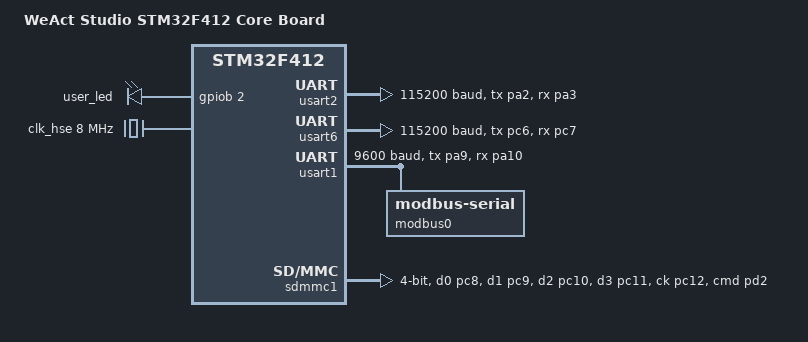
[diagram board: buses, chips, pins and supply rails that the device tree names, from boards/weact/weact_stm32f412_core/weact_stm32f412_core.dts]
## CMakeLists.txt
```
# SPDX-License-Identifier: Apache-2.0

cmake_minimum_required(VERSION 3.20.0)

list(APPEND BOARD_ROOT ${CMAKE_CURRENT_SOURCE_DIR})

find_package(Zephyr REQUIRED HINTS $ENV{ZEPHYR_BASE})
project(rsc-app)

add_subdirectory(lib/storage)
add_subdirectory(lib/core)
add_subdirectory(lib/communication)
add_subdirectory(lib/component)
add_subdirectory(lib/data)

target_sources(app PRIVATE src/main.c)
```

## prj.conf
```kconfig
CONFIG_GPIO=y
CONFIG_SIZE_OPTIMIZATIONS=y

CONFIG_SERIAL=y
CONFIG_CONSOLE=y
CONFIG_UART_CONSOLE=y
CONFIG_UART_INTERRUPT_DRIVEN=y
CONFIG_PRINTK=y
CONFIG_LOG=y
CONFIG_LOG_MODE_MINIMAL=y
CONFIG_SDMMC_LOG_LEVEL_DBG=y
CONFIG_BOOT_BANNER=n
CONFIG_ASSERT=n
CONFIG_THREAD_NAME=n

CONFIG_MAIN_STACK_SIZE=8192
CONFIG_SYSTEM_WORKQUEUE_STACK_SIZE=512

CONFIG_PINCTRL=y

# SD card / filesystem
CONFIG_DISK_ACCESS=y
CONFIG_DISK_DRIVERS=y
CONFIG_DISK_DRIVER_SDMMC=y
CONFIG_SDMMC_STM32=y

CONFIG_FILE_SYSTEM=y
CONFIG_FAT_FILESYSTEM_ELM=y
CONFIG_FS_FATFS_LFN=y
CONFIG_FS_FATFS_LFN_MODE_STACK=y

# DMA + async UART for ESP32
CONFIG_DMA=y
CONFIG_UART_ASYNC_API=y

# JSON parser
CONFIG_JSON_LIBRARY=y

# Modbus RTU
CONFIG_MODBUS=y
CONFIG_MODBUS_ROLE_CLIENT=y
CONFIG_MODBUS_NONCOMPLIANT_SERIAL_MODE=y
CONFIG_MODBUS_LOG_LEVEL_WRN=y
```

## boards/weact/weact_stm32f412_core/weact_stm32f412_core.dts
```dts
/* SPDX-License-Identifier: Apache-2.0 */

/dts-v1/;
#include <st/f4/stm32f412Xe.dtsi>
#include <st/f4/stm32f412r(e-g)tx-pinctrl.dtsi>
#include <zephyr/dt-bindings/clock/stm32f410_clock.h>

/ {
	model = "WeAct Studio STM32F412 Core Board";
	compatible = "weact,stm32f412-core", "st,stm32f412";

	chosen {
		zephyr,sram = &sram0;
		zephyr,flash = &flash0;
		zephyr,console = &usart2;
		zephyr,shell-uart = &usart2; 	 			                                          
	};

	leds {
		compatible = "gpio-leds";

		user_led: led {
			gpios = <&gpiob 2 GPIO_ACTIVE_HIGH>;
		};
	};

	aliases {
		led0 = &user_led;
	};
};

&clk_hse {
	clock-frequency = <DT_FREQ_M(8)>;
	status = "okay";
};

&pll {
	div-m = <8>;
	mul-n = <192>;
	div-p = <2>;
	div-q = <4>;
	clocks = <&clk_hse>;
	status = "okay";
};

&rcc {
	clocks = <&pll>;
	clock-frequency = <DT_FREQ_M(96)>;
	ahb-prescaler = <1>;
	apb1-prescaler = <2>;
	apb2-prescaler = <1>;
};

&usart2 {
	pinctrl-0 = <&usart2_tx_pa2 &usart2_rx_pa3>;
	pinctrl-names = "default";
	current-speed = <115200>;
	status = "okay";
};

&dma2 {
	status = "okay";
};

&usart6 {
	pinctrl-0 = <&usart6_tx_pc6 &usart6_rx_pc7>;
	pinctrl-names = "default";
	current-speed = <115200>;
	dmas = <&dma2 6 5 STM32_DMA_PERIPH_TX 0>,
	       <&dma2 1 5 STM32_DMA_PERIPH_RX 0>;
	dma-names = "tx", "rx";
	status = "okay";
};

&usart1 {
	pinctrl-0 = <&usart1_tx_pa9 &usart1_rx_pa10>;
	pinctrl-names = "default";
	current-speed = <9600>;
	status = "okay";

	modbus0: modbus0 {
		compatible = "zephyr,modbus-serial";
		status = "okay";
	};
};

&sdmmc1 {
	pinctrl-0 = <&sdio_d0_pc8 &sdio_d1_pc9 &sdio_d2_pc10 &sdio_d3_pc11
		     &sdio_ck_pc12 &sdio_cmd_pd2>;
	pinctrl-names = "default";
	clocks = <&rcc STM32_CLOCK(APB2, 11)>,
		 <&rcc STM32_SRC_PLL_Q SDIO_SEL(0)>;
	disk-name = "SD";
	bus-width = <4>;
	clk-div = <4>;
	status = "okay";
};
```

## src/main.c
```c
/* SPDX-License-Identifier: Apache-2.0 */

#include <stdio.h>
#include <string.h>
#include <core.h>
#include <data.h>
#include <esp32.h>
#include <sensor_manager.h>
#include <storage.h>
#include <zephyr/drivers/gpio.h>
#include <zephyr/drivers/uart.h>
#include <zephyr/kernel.h>

#define APP_VERSION "1.0.0"

#define COMMAND_MAX_LEN          32
#define COMMAND_QUEUE_DEPTH      8
#define SENSOR_POLL_INTERVAL_MS  60000
#define NETWORK_RETRY_INTERVAL   K_SECONDS(10)
#define NETWORK_WAKE_LEAD_MS     30000
#define COMMAND_THREAD_STACK     2048
#define SENSOR_THREAD_STACK      2048
#define COMM_THREAD_STACK        6144

struct command_message {
	char text[COMMAND_MAX_LEN];
};

static const struct gpio_dt_spec led = GPIO_DT_SPEC_GET(DT_ALIAS(led0), gpios);
static const struct device *uart_dev = DEVICE_DT_GET(DT_NODELABEL(usart2));

K_MSGQ_DEFINE(command_queue, sizeof(struct command_message),
	      COMMAND_QUEUE_DEPTH, 4);
K_SEM_DEFINE(send_request, 0, 1);

K_THREAD_STACK_DEFINE(command_stack, COMMAND_THREAD_STACK);
K_THREAD_STACK_DEFINE(sensor_stack, SENSOR_THREAD_STACK);
K_THREAD_STACK_DEFINE(comm_stack, COMM_THREAD_STACK);

static struct k_thread command_thread_data;
static struct k_thread sensor_thread_data;
static struct k_thread comm_thread_data;

static uint8_t rx_buf[COMMAND_MAX_LEN];
static uint8_t rx_pos;

static uint32_t s_epoch_base;
static int64_t s_epoch_tick;

static int64_t get_timestamp_ms(void)
{
	if (s_epoch_base == 0) {
		return 0;
	}
	return (int64_t)s_epoch_base * MSEC_PER_SEC +
	       (k_uptime_get() - s_epoch_tick);
}

static uint32_t get_timestamp(void)
{
	return (uint32_t)(get_timestamp_ms() / MSEC_PER_SEC);
}

static int sync_network_time(const struct config *cfg)
{
	uint16_t year;
	uint8_t month, day, hour, minute, second;

	if (esp32_ntp_config(cfg->ntp_timezone, NULL) != ESP32_OK) {
		printk("[WARN] NTP config failed\r");
		return -1;
	}

	for (uint8_t retry = 0; retry < 3; retry++) {
		k_sleep(K_SECONDS(2));
		if (esp32_ntp_get_time(&year, &month, &day, &hour, &minute,
				       &second) == ESP32_OK) {
			/* ESP32 returns local time according to CIPSNTPCFG timezone.
			 * Convert it back to UTC before publishing a Unix timestamp.
			 */
			int64_t local_epoch = datetime_to_epoch(year, month, day, hour,
							 minute, second);
			int64_t utc_epoch = local_epoch -
					    ((int64_t)cfg->ntp_timezone * 3600LL);

			if (utc_epoch <= 0 || utc_epoch > UINT32_MAX) {
				printk("[WARN] Invalid NTP epoch\r");
				return -1;
			}

			s_epoch_base = (uint32_t)utc_epoch;
			s_epoch_tick = k_uptime_get();
			printk("[NTP] %04u-%02u-%02u %02u:%02u:%02u\r",
			       year, month, day, hour, minute, second);
			return 0;
		}
		printk("[WARN] NTP sync retry %u/3\r", (unsigned)(retry + 1));
	}

	return -1;
}

static void publish_signal(uint32_t timestamp)
{
	static char payload[ESP32_MQTT_PAYLOAD_MAX];
	const struct config *cfg = config_get();
	const esp32_status_t *status = esp32_get_status();
	data_signal_meta_t meta = {
		.device_id = cfg->devid,
		.firmware_version = APP_VERSION,
		.timestamp = timestamp,
		.rssi = status->rssi,
	};

	int err = data_build_signal_payload(payload, sizeof(payload), &meta);
	if (err != 0) {
		printk("[DATA] payload build failed: %d\r", err);
		return;
	}

	esp32_result_t result = esp32_send_signal(payload);
	if (result == ESP32_OK) {
		printk("[MQTT] %s\r", payload);
	} else {
		printk("[MQTT] publish failed, rc=%d\r", (int)result);
	}
}

static void process_command(const char *command)
{
	if (strcmp(command, "on") == 0) {
		gpio_pin_set_dt(&led, 1);
		printk("LED ON\r");
	} else if (strcmp(command, "off") == 0) {
		gpio_pin_set_dt(&led, 0);
		printk("LED OFF\r");
	} else if (strcmp(command, "config") == 0) {
		config_print();
	} else if (strcmp(command, "status") == 0) {
		const esp32_status_t *status = esp32_get_status();
		printk("[INFO] WiFi  : %s\r",
		       status->wifi_state == ESP32_WIFI_GOT_IP ?
		       "connected" : "disconnected");
		printk("[INFO] IP    : %s\r",
		       status->ip_addr[0] ? status->ip_addr : "-");
		printk("[INFO] RSSI  : %d\r", (int)status->rssi);
		printk("[INFO] MQTT  : %s\r",
		       status->mqtt_connected ? "connected" : "disconnected");
	} else if (strcmp(command, "send") == 0) {
		k_sem_give(&send_request);
		printk("[INFO] send requested\r");
	} else if (strcmp(command, "weather") == 0) {
		weather_data_t weather;
		if (sensor_manager_get_weather(&weather) == 0) {
			sensor_manager_print_weather(&weather);
		} else {
			printk("[W87X] data not ready\r");
		}
	} else {
		printk("Unknown: %s\r", command);
	}
}

static void command_thread(void *arg1, void *arg2, void *arg3)
{
	struct command_message message;

	ARG_UNUSED(arg1);
	ARG_UNUSED(arg2);
	ARG_UNUSED(arg3);

	while (1) {
		k_msgq_get(&command_queue, &message, K_FOREVER);
		process_command(message.text);
	}
}

static void sensor_thread(void *arg1, void *arg2, void *arg3)
{
	int64_t next_sample = k_uptime_get();

	ARG_UNUSED(arg1);
	ARG_UNUSED(arg2);
	ARG_UNUSED(arg3);

	while (1) {
		int err = sensor_manager_sample();
		if (err != 0) {
			printk("[SENSOR] read failed: %d\r", err);
		} else {
			weather_data_t weather;
			if (sensor_manager_get_weather(&weather) == 0) {
				uint32_t timestamp = get_timestamp();
				if (timestamp != 0) {
					err = data_wind_accumulate(weather.wind_dir,
								   timestamp);
					if (err != 0) {
						printk("[DATA] wind.json write failed: %d\r",
						       err);
					}
				}
			}
		}

		next_sample += SENSOR_POLL_INTERVAL_MS;
		int64_t sleep_ms = next_sample - k_uptime_get();
		if (sleep_ms > 0) {
			k_sleep(K_MSEC(sleep_ms));
		} else {
			next_sample = k_uptime_get();
		}
	}
}

static int communication_prepare(const struct config *cfg)
{
	if (esp32_get_status()->wifi_state != ESP32_WIFI_GOT_IP) {
		printk("[INFO] WiFi connecting...\r");
		if (esp32_wifi_connect(cfg->wifi_ssid, cfg->wifi_pass) != ESP32_OK) {
			return -1;
		}
	}

	if (sync_network_time(cfg) != 0 && s_epoch_base == 0) {
		return -1;
	}

	if (!esp32_get_status()->mqtt_connected) {
		/* ESP-AT rejects MQTTUSERCFG when link 0 still has stale state. */
		(void)esp32_mqtt_disconnect();
		k_sleep(K_MSEC(500));

		if (esp32_mqtt_config(cfg->devid, cfg->mqtt_user,
				       cfg->mqtt_pass) != ESP32_OK) {
			printk("[WARN] MQTT config failed\r");
			return -1;
		}
		if (esp32_mqtt_connect(cfg->server, cfg->server_port, 1) != ESP32_OK) {
			printk("[WARN] MQTT connect failed\r");
			return -1;
		}
	}

	return 0;
}

static void communication_suspend(void)
{
	if (esp32_get_status()->mqtt_connected) {
		(void)esp32_mqtt_disconnect();
	}
	if (esp32_get_status()->wifi_state != ESP32_WIFI_DISCONNECTED) {
		(void)esp32_wifi_disconnect();
	}
	printk("[INFO] Communication suspended\r");
}

static bool wait_until_timestamp(int64_t target_ms)
{
	while (get_timestamp_ms() < target_ms) {
		int64_t remaining = target_ms - get_timestamp_ms();
		int64_t wait_ms = remaining > 1000 ? 1000 : remaining;

		if (k_sem_take(&send_request, K_MSEC(wait_ms)) == 0) {
			return true;
		}
		esp32_process();
	}

	return false;
}

static void communication_thread(void *arg1, void *arg2, void *arg3)
{
	const struct config *cfg = config_get();
	bool esp_ready = false;
	int32_t interval_s = cfg->dev_inv > 0 ? cfg->dev_inv : 300;
	int64_t interval_ms = (int64_t)interval_s * MSEC_PER_SEC;
	int64_t wake_lead_ms = interval_ms / 2;

	if (wake_lead_ms > NETWORK_WAKE_LEAD_MS) {
		wake_lead_ms = NETWORK_WAKE_LEAD_MS;
	}

	ARG_UNUSED(arg1);
	ARG_UNUSED(arg2);
	ARG_UNUSED(arg3);

	while (!esp_ready) {
		if (esp32_init() == ESP32_OK) {
			esp_ready = true;
			break;
		}
		printk("[WARN] ESP32 init retry\r");
		k_sleep(NETWORK_RETRY_INTERVAL);
	}

	while (communication_prepare(cfg) != 0) {
		printk("[WARN] communication prepare retry\r");
		k_sleep(NETWORK_RETRY_INTERVAL);
	}

	/* Publish once after boot, then align all periodic sends to wall time. */
	publish_signal(get_timestamp());
	communication_suspend();

	while (1) {
		int64_t now_ms = get_timestamp_ms();
		int64_t target_ms = ((now_ms / interval_ms) + 1) * interval_ms;
		int64_t wake_ms = target_ms - wake_lead_ms;

		while (get_timestamp_ms() < wake_ms) {
			if (wait_until_timestamp(wake_ms)) {
				if (communication_prepare(cfg) == 0) {
					publish_signal(get_timestamp());
					communication_suspend();
				}
			}
		}

		while (communication_prepare(cfg) != 0) {
			printk("[WARN] communication prepare retry\r");
			k_sleep(K_SECONDS(2));
			if (get_timestamp_ms() >= target_ms) {
				break;
			}
		}

		/* NTP refresh may correct clock drift; retain the same time boundary. */
		while (get_timestamp_ms() < target_ms) {
			if (wait_until_timestamp(target_ms)) {
				publish_signal(get_timestamp());
			}
		}

		publish_signal((uint32_t)(target_ms / MSEC_PER_SEC));
		communication_suspend();
	}
}

static void uart_cb(const struct device *dev, void *user_data)
{
	ARG_UNUSED(user_data);

	uart_irq_update(dev);
	if (!uart_irq_rx_ready(dev)) {
		return;
	}

	uint8_t character;
	while (uart_fifo_read(dev, &character, 1) == 1) {
		if (character == '\r' || character == '\n') {
			if (rx_pos > 0) {
				struct command_message message = {0};
				memcpy(message.text, rx_buf, rx_pos);
				message.text[rx_pos] = '\0';
				(void)k_msgq_put(&command_queue, &message, K_NO_WAIT);
				rx_pos = 0;
			}
		} else if (rx_pos < sizeof(rx_buf) - 1) {
			rx_buf[rx_pos++] = character;
		}
	}
}

int main(void)
{
	if (!gpio_is_ready_dt(&led) ||
	    gpio_pin_configure_dt(&led, GPIO_OUTPUT_INACTIVE) < 0) {
		return 0;
	}

	if (!device_is_ready(uart_dev)) {
		return 0;
	}

	uart_irq_callback_set(uart_dev, uart_cb);
	uart_irq_rx_enable(uart_dev);

	printk("RSC1.0 Running\r");

	if (storage_init() != 0 || config_load() != 0) {
		printk("[ERROR] startup stopped: storage/config unavailable\r");
		return 0;
	}
	config_print();
	(void)data_wind_store_init();

	(void)sensor_manager_init();

	k_thread_create(&command_thread_data, command_stack,
			K_THREAD_STACK_SIZEOF(command_stack), command_thread,
			NULL, NULL, NULL, K_PRIO_PREEMPT(7), 0, K_NO_WAIT);
	k_thread_create(&sensor_thread_data, sensor_stack,
			K_THREAD_STACK_SIZEOF(sensor_stack), sensor_thread,
			NULL, NULL, NULL, K_PRIO_PREEMPT(6), 0, K_NO_WAIT);
	k_thread_create(&comm_thread_data, comm_stack,
			K_THREAD_STACK_SIZEOF(comm_stack), communication_thread,
			NULL, NULL, NULL, K_PRIO_PREEMPT(5), 0, K_NO_WAIT);

	return 0;
}
```
